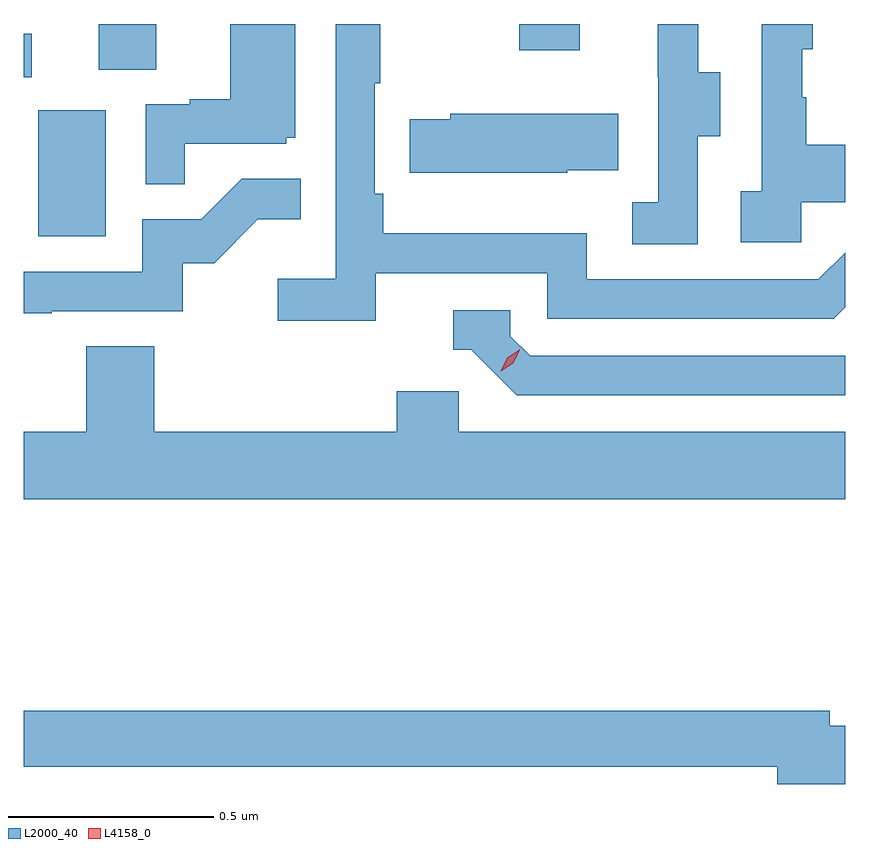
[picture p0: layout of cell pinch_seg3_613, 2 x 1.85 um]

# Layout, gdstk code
import gdstk
lib = gdstk.Library(unit=1e-6, precision=1e-09)
def R(c, l, rs):  # rectangles x0, y0, x1, y1
    for r in rs: c.add(gdstk.rectangle(r[:2], r[2:], *l))
def P(c, l, *ps):  # polygons
    for p in ps: c.add(gdstk.Polygon(p, *l))
L2000_40 = (2000, 40)
L4158_0 = (4158, 0)

pinch_seg3_613 = lib.new_cell('pinch_seg3_613')
R(pinch_seg3_613, L2000_40, [(1029.788,688.236,1029.952,688.543), (1029.753,688.623,1029.772,688.729), (1029.935,688.642,1030.075,688.753), (1030.96,688.689,1031.107,688.753)])
P(pinch_seg3_613, L2000_40, [(1031.646,688.319),(1031.753,688.319),(1031.753,688.459),(1031.659,688.459),(1031.659,688.574),(1031.649,688.574),(1031.649,688.692),(1031.674,688.692),(1031.674,688.753),(1031.55,688.753),(1031.55,688.346),(1031.499,688.346),(1031.499,688.221),(1031.646,688.221)],
  [(1031.394,688.48),(1031.449,688.48),(1031.449,688.635),(1031.395,688.635),(1031.395,688.753),(1031.297,688.753),(1031.297,688.623),(1031.298,688.623),(1031.298,688.319),(1031.235,688.319),(1031.235,688.216),(1031.394,688.216)],
  [(1030.61,688.146),(1031.028,688.146),(1031.028,688.035),(1031.725,688.035),(1031.753,688.063),(1031.753,688.196),(1031.688,688.131),(1031.124,688.131),(1031.124,688.243),(1030.628,688.243),(1030.628,688.339),(1030.608,688.339),(1030.608,688.609),(1030.621,688.609),(1030.621,688.753),(1030.512,688.753),(1030.512,688.132),(1030.371,688.132),(1030.371,688.03),(1030.61,688.03)],
  [(1030.145,688.461),(1030.392,688.461),(1030.392,688.476),(1030.414,688.476),(1030.414,688.753),(1030.256,688.753),(1030.256,688.57),(1030.157,688.57),(1030.157,688.557),(1030.05,688.557),(1030.05,688.363),(1030.145,688.363)],
  [(1031.076,688.397),(1031.201,688.397),(1031.201,688.534),(1030.791,688.534),(1030.791,688.521),(1030.693,688.521),(1030.693,688.391),(1031.076,688.391)],
  [(1029.821,688.053),(1030.14,688.053),(1030.14,688.17),(1030.216,688.17),(1030.323,688.277),(1030.427,688.277),(1030.427,688.376),(1030.283,688.376),(1030.185,688.278),(1030.041,688.278),(1030.041,688.149),(1029.753,688.149),(1029.753,688.048),(1029.821,688.048)],
  [(1031.753,687.945),(1030.986,687.945),(1030.938,687.993),(1030.938,688.056),(1030.799,688.056),(1030.799,687.96),(1030.842,687.96),(1030.953,687.849),(1031.753,687.849)],
  [(1031.753,687.76),(1030.812,687.76),(1030.812,687.858),(1030.661,687.858),(1030.661,687.76),(1030.07,687.76),(1030.07,687.968),(1029.905,687.968),(1029.905,687.76),(1029.753,687.76),(1029.753,687.596),(1031.753,687.596)],
  [(1031.753,687.044),(1031.716,687.044),(1031.716,687.08),(1029.753,687.08),(1029.753,686.944),(1031.588,686.944),(1031.588,686.902),(1031.753,686.902)])
P(pinch_seg3_613, L4158_0, [(1030.914,687.907),(1030.914,687.908),(1030.93,687.94),(1030.96,687.96),(1030.961,687.96),(1030.961,687.96),(1030.945,687.927),(1030.914,687.907)])

lib.write_gds('pinch_seg3_613.gds')
